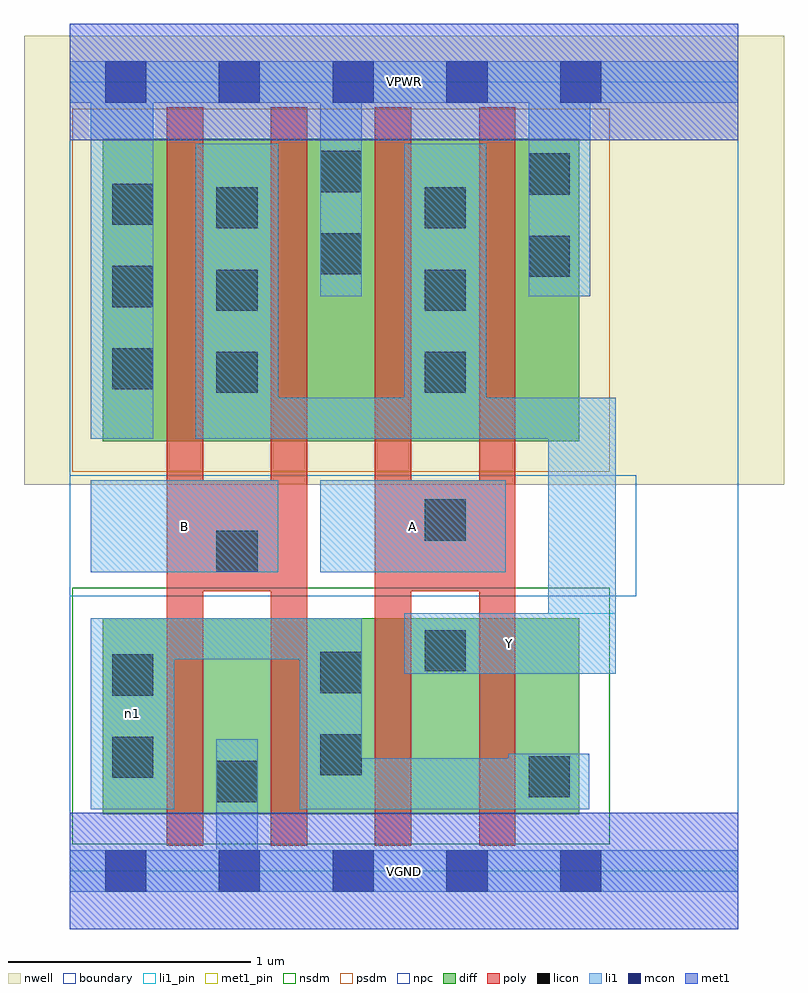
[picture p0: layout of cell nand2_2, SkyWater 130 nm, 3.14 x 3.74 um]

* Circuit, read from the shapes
.subckt nand2_2 A B VGND VPWR Y n1
XM1 VGND B n1 VSUBS sky130_fd_pr__nfet_01v8 w=0.81 l=0.15 m=2
XM2 Y A n1 VSUBS sky130_fd_pr__nfet_01v8 w=0.81 l=0.15 m=2
XM3 Y B VPWR n2 sky130_fd_pr__pfet_01v8 w=1.25 l=0.15 m=2
XM4 Y A VPWR n2 sky130_fd_pr__pfet_01v8 w=1.25 l=0.15 m=2
.ends

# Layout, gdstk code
import gdstk
lib = gdstk.Library(unit=1e-6, precision=1e-09)
def R(c, l, rs):  # rectangles x0, y0, x1, y1
    for r in rs: c.add(gdstk.rectangle(r[:2], r[2:], *l))
def A(c, l, x, y, w, h, nx, ny, dx, dy):  # array of equal rectangles
    R(c, l, [(x+i*dx, y+j*dy, x+i*dx+w, y+j*dy+h) for i in range(nx) for j in range(ny)])
nwell = (64, 20)
diff = (65, 20)
poly = (66, 20)
licon = (66, 44)
li1_pin = (67, 16)
li1 = (67, 20)
mcon = (67, 44)
met1_pin = (68, 16)
met1 = (68, 20)
nsdm = (93, 44)
psdm = (94, 20)
npc = (95, 20)
boundary = (235, 4)

nand2_2 = lib.new_cell('nand2_2')
R(nand2_2, nwell, [(-0.19,1.595,2.95,3.45), (0,1.595,2.76,3.45)])
R(nand2_2, diff, [(0.135,0.235,2.105,1.045), (0.135,1.775,2.105,3.025)])
A(nand2_2, poly, 0.4, 0.105, 0.15, 3.05, 4, 1, 0.43, 0)
R(nand2_2, poly, [(0.4,1.155,0.98,1.615), (1.26,1.155,1.84,1.615)])
A(nand2_2, licon, 0.605, 1.975, 0.17, 0.17, 1, 3, 0, 0.34)
A(nand2_2, licon, 1.465, 1.975, 0.17, 0.17, 1, 3, 0, 0.34)
A(nand2_2, licon, 0.175, 1.99, 0.17, 0.17, 1, 3, 0, 0.34)
R(nand2_2, licon, [(0.605,0.285,0.775,0.455), (1.895,0.305,2.065,0.475), (0.175,0.385,0.345,0.555), (1.035,0.395,1.205,0.565), (0.175,0.725,0.345,0.895), (1.035,0.735,1.205,0.905), (1.465,0.825,1.635,0.995), (0.605,1.235,0.775,1.405), (1.465,1.365,1.635,1.535), (1.895,2.455,2.065,2.625), (1.035,2.465,1.205,2.635), (1.895,2.795,2.065,2.965), (1.035,2.805,1.205,2.975)])
R(nand2_2, li1_pin, [(1.38,0.815,2.255,1.065), (0.085,1.235,0.86,1.615), (1.035,1.235,1.8,1.615)])
R(nand2_2, li1, [(0,-0.085,2.76,0.085), (0.605,-0.085,0.775,0.545), (0.085,0.255,0.43,1.045), (0.95,0.255,2.145,0.465), (0.95,0.255,1.205,1.045), (1.81,0.255,2.145,0.485), (1.38,0.815,2.255,1.065), (1.975,0.815,2.255,1.955), (0.085,0.875,1.205,1.045), (0.085,1.235,0.86,1.615), (1.035,1.235,1.8,1.615), (0.085,1.785,0.345,3.345), (0.52,1.785,0.86,3.005), (0.52,1.785,2.255,1.955), (1.38,1.785,1.72,3.005), (1.035,2.375,1.205,3.345), (1.895,2.375,2.15,3.345), (0,3.175,2.76,3.345)])
A(nand2_2, mcon, 0.145, -0.085, 0.17, 0.17, 5, 2, 0.47, 3.26)
R(nand2_2, met1_pin, [(0,-0.24,2.76,0.24), (0,3.02,2.76,3.5)])
R(nand2_2, met1, [(0,-0.24,2.76,0.24), (0,3.02,2.76,3.5)])
R(nand2_2, nsdm, [(0.01,0.11,2.23,1.17)])
R(nand2_2, psdm, [(0.01,1.65,2.23,3.15)])
R(nand2_2, npc, [(0,1.135,2.34,1.635)])
R(nand2_2, boundary, [(0,0,2.76,3.26)])
nand2_2.add(gdstk.Label('A', (1.417,1.425), layer=67, texttype=5))
nand2_2.add(gdstk.Label('B', (0.472,1.425), layer=67, texttype=5))
nand2_2.add(gdstk.Label('Y', (1.817,0.94), layer=67, texttype=5))
nand2_2.add(gdstk.Label('n1', (0.257,0.65), layer=67, texttype=5))
nand2_2.add(gdstk.Label('VPWR', (1.38,3.26), layer=68, texttype=5))
nand2_2.add(gdstk.Label('VGND', (1.38,0), layer=68, texttype=5))
nand2_2.add(gdstk.Label('A', (1.417,1.425), layer=67, texttype=16))
nand2_2.add(gdstk.Label('B', (0.472,1.425), layer=67, texttype=16))
nand2_2.add(gdstk.Label('Y', (1.817,0.94), layer=67, texttype=16))
nand2_2.add(gdstk.Label('VPWR', (1.38,3.26), layer=68, texttype=16))
nand2_2.add(gdstk.Label('VGND', (1.38,0), layer=68, texttype=16))

lib.write_gds('nand2_2.gds')
